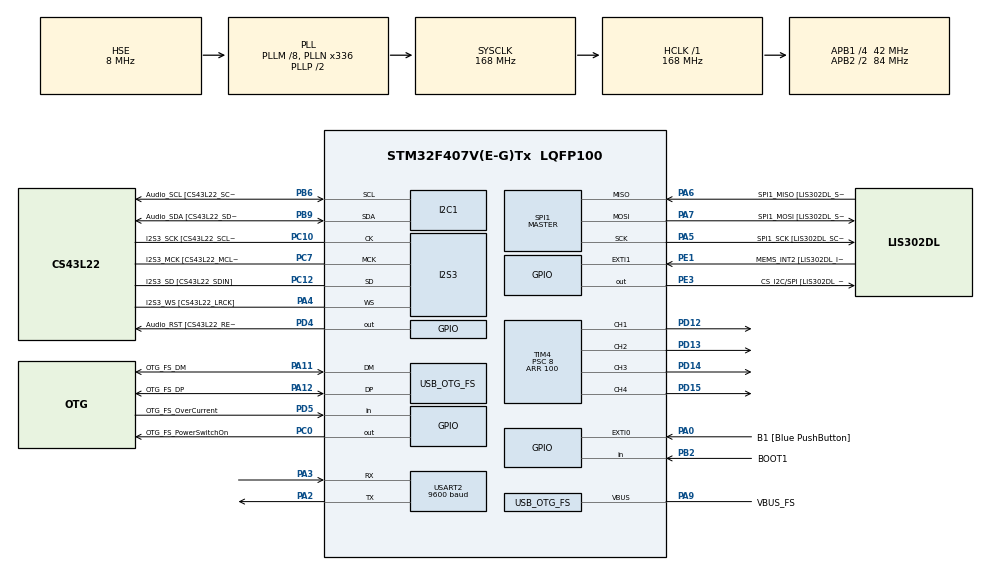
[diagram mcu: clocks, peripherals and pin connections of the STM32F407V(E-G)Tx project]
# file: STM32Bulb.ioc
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PA11.GPIO_Speed=GPIO_SPEED_FREQ_LOW
PH0-OSC_IN.Signal=RCC_OSC_IN
PC10.GPIO_PuPd=GPIO_NOPULL
SPI1.VirtualType=VM_MASTER
PB10.GPIO_PuPd=GPIO_NOPULL
PA10.GPIO_PuPd=GPIO_NOPULL
PC12.Signal=I2S3_SD
PA14.GPIO_Label=SWCLK
PA6.GPIO_Label=SPI1_MISO [LIS302DL_SDO]
PB6.GPIO_Label=Audio_SCL [CS43L22_SCL]
PC15-OSC32_OUT.GPIO_Label=PC15-OSC32_OUT
PC3.GPIO_Speed=GPIO_SPEED_FREQ_LOW
RCC.SYSCLKSource=RCC_SYSCLKSOURCE_PLLCLK
PA6.GPIO_Mode=GPIO_MODE_AF_PP
PA4.Mode=Half_Duplex_Master
SPI1.Direction=SPI_DIRECTION_2LINES
I2S3.AudioFreq-Half_Duplex_Master=I2S_AUDIOFREQ_96K
PD4.Signal=GPIO_Output
RCC.APB2TimFreq_Value=168000000
TIM4.Pulse-PWM\ Generation1\ CH1=0
PB6.Signal=I2C1_SCL
PC7.Signal=I2S3_MCK
PB6.Mode=I2C
PC3.Signal=I2S2_SD
PE1.Signal=GPXTI1
TIM4.Channel-PWM\ Generation3\ CH3=TIM_CHANNEL_3
USB_OTG_FS.phy_itface=HCD_PHY_EMBEDDED
PB2.Signal=GPIO_Input
I2S3.ErrorAudioFreq=-2.34 %
PA5.GPIO_PuPd=GPIO_NOPULL
I2S3.ErrorAudioFreq-Half_Duplex_Master=0.8 %
PD5.GPIO_Mode=GPIO_MODE_INPUT
SH.S_TIM4_CH2.0=TIM4_CH2,PWM Generation2 CH2
TIM4.Period=100
PB2.GPIO_PuPd=GPIO_NOPULL
SPI1.CalculateBaudRate-Full_Duplex_Master=42.0 MBits/s
Mcu.Package=LQFP100
PB9.Signal=I2C1_SDA
PD12.Signal=S_TIM4_CH1
PB9.GPIO_PuPd=GPIO_NOPULL
PA10.Signal=USB_OTG_FS_ID
RCC.APB2CLKDivider=RCC_HCLK_DIV2
SH.S_TIM4_CH1.0=TIM4_CH1,PWM Generation1 CH1
RCC.APB1TimFreq_Value=84000000
PC12.GPIO_PuPd=GPIO_NOPULL
PA6.GPIO_Speed=GPIO_SPEED_FREQ_LOW
PA12.GPIO_PuPd=GPIO_NOPULL
TIM4.Channel-PWM\ Generation4\ CH4=TIM_CHANNEL_4
PA4.GPIO_Label=I2S3_WS [CS43L22_LRCK]
PD15.Signal=S_TIM4_CH4
TIM4.Pulse-PWM\ Generation2\ CH2=0
PC0.PinState=GPIO_PIN_SET
PA5.Mode=Full_Duplex_Master
TIM4.Pulse-PWM\ Generation3\ CH3=0
I2S3.FullDuplexMode=I2S_FULLDUPLEXMODE_DISABLE
PA9.GPIO_Label=VBUS_FS
PB6.GPIO_PuPd=GPIO_NOPULL
PA11.GPIO_Label=OTG_FS_DM
PE1.GPIO_PuPd=GPIO_NOPULL
PC0.Signal=GPIO_Output
RCC.APB1CLKDivider=RCC_HCLK_DIV4
PC14-OSC32_IN.Signal=RCC_OSC32_IN
USART2.BaudRate=9600
PA0-WKUP.GPIO_ModeDefaultEXTI=GPIO_MODE_EVT_RISING
PA0-WKUP.GPIO_Label=B1 [Blue PushButton]
PA0-WKUP.Signal=GPXTI0
USB_HOST0.BSP.STBoard=false
PA3.Mode=Asynchronous
PC10.GPIO_Mode=GPIO_MODE_AF_PP
PB10.GPIO_Mode=GPIO_MODE_AF_PP
PA9.Signal=USB_OTG_FS_VBUS
I2S3.VirtualMode=I2S_MODE_MASTER
PC7.GPIO_PuPd=GPIO_NOPULL
PB10.Signal=I2S2_CK
PA5.Signal=SPI1_SCK
PC12.Mode=Half_Duplex_Master
PE1.GPIO_Label=MEMS_INT2 [LIS302DL_INT2]
USB_HOST.VirtualModeFS=Cdc
PA7.GPIO_Speed=GPIO_SPEED_FREQ_LOW
TIM4.Pulse-PWM\ Generation4\ CH4=0
PB2.GPIO_Mode=GPIO_MODE_INPUT
SPI1.Mode=SPI_MODE_MASTER
PD4.GPIO_Speed=GPIO_SPEED_FREQ_LOW
PE3.GPIO_PuPd=GPIO_NOPULL
PH1-OSC_OUT.GPIO_Label=PH1-OSC_OUT
PA13.Mode=Serial_Wire
PC7.GPIO_Label=I2S3_MCK [CS43L22_MCLK]
PA4.Signal=I2S3_WS
PC12.GPIO_Mode=GPIO_MODE_AF_PP
PA5.GPIO_Label=SPI1_SCK [LIS302DL_SCL/SPC]
PE3.GPIO_Speed=GPIO_SPEED_FREQ_LOW
PC12.GPIO_Label=I2S3_SD [CS43L22_SDIN]
PA11.Signal=USB_OTG_FS_DM
ProjectManager.HeapSize=0x200
VP_TIM4_VS_ClockSourceINT.Mode=Internal
NVIC.PriorityGroup=NVIC_PRIORITYGROUP_0
PE3.Signal=GPIO_Output
PC3.GPIO_Label=PDM_OUT [MP45DT02_DOUT]
PA0-WKUP.GPIO_PuPd=GPIO_NOPULL
I2S3.Instance=SPI$Index
PB6.GPIO_Speed=GPIO_SPEED_FREQ_LOW
SPI1.BaudRatePrescaler-Full_Duplex_Master=SPI_BAUDRATEPRESCALER_2
USB_HOST0.BSP.mode=Output
Mcu.Family=STM32F4
PC3.GPIO_Mode=GPIO_MODE_AF_PP
PA6.Mode=Full_Duplex_Master
RCC.CortexFreq_Value=168000000
PB10.GPIO_Speed=GPIO_SPEED_FREQ_LOW
PB6.GPIO_Mode=GPIO_MODE_AF_OD
PC10.Signal=I2S3_CK
PA7.GPIO_Mode=GPIO_MODE_AF_PP
PC0.GPIO_Label=OTG_FS_PowerSwitchOn
PA11.Mode=Host_Only
PC10.GPIO_Speed=GPIO_SPEED_FREQ_LOW
PA11.GPIO_PuPd=GPIO_NOPULL
ProjectManager.StackSize=0x400
SPI1.Mode-Full_Duplex_Master=SPI_MODE_MASTER
PD13.Signal=S_TIM4_CH2
PA12.Signal=USB_OTG_FS_DP
TIM4.OCFastMode_PWM-PWM\ Generation1\ CH1=TIM_OCFAST_ENABLE
RCC.HCLKFreq_Value=168000000
USB_HOST0.BSP.ip=GPIO
RCC.AHBFreq_Value=168000000
PH0-OSC_IN.Mode=HSE-External-Oscillator
PH0-OSC_IN.GPIO_Label=PH0-OSC_IN
PA9.GPIO_Mode=GPIO_MODE_INPUT
RCC.HSE_VALUE=8000000
PA4.GPIO_PuPd=GPIO_NOPULL
PA4.GPIO_Speed=GPIO_SPEED_FREQ_LOW
PA6.GPIO_PuPd=GPIO_NOPULL
PC14-OSC32_IN.Mode=LSE-External-Oscillator
PA14.Mode=Serial_Wire
PA10.GPIO_Label=OTG_FS_ID
PC7.GPIO_Mode=GPIO_MODE_AF_PP
TIM4.OCFastMode_PWM-PWM\ Generation2\ CH2=TIM_OCFAST_ENABLE
USB_HOST0.BSP.i2creg=0
PH1-OSC_OUT.Mode=HSE-External-Oscillator
USB_HOST0.BSP.i2caddr=0
PA6.Signal=SPI1_MISO
USART2.VirtualMode=VM_ASYNC
USB_HOST.USBH_HandleTypeDef-CDC_FS=hUsbHostFS
PD5.GPIO_Label=OTG_FS_OverCurrent
NVIC.OTG_FS_IRQn=true\:0\:0\:false\:false\:true\:true\:true
USB_OTG_FS.VirtualMode=Host_Only
PA10.GPIO_Speed=GPIO_SPEED_FREQ_LOW
USB_HOST0.BSP.name=Drive_VBUS_FS
PB9.GPIO_Speed=GPIO_SPEED_FREQ_LOW
PC14-OSC32_IN.GPIO_Label=PC14-OSC32_IN
PC0.GPIO_PuPd=GPIO_NOPULL
PA12.GPIO_Speed=GPIO_SPEED_FREQ_LOW
PA3.Signal=USART2_RX
PB3.GPIO_Label=SWO
TIM4.Channel-PWM\ Generation1\ CH1=TIM_CHANNEL_1
PC15-OSC32_OUT.Mode=LSE-External-Oscillator
PA7.Mode=Full_Duplex_Master
PB9.GPIO_Label=Audio_SDA [CS43L22_SDA]
PC10.GPIO_Label=I2S3_SCK [CS43L22_SCLK]
SH.S_TIM4_CH4.0=TIM4_CH4,PWM Generation4 CH4
USB_HOST0.BSP.solution=PC0
PC10.Mode=Half_Duplex_Master
USB_HOST.BSP.number=1
PD5.Signal=GPIO_Input
PE1.GPIO_ModeDefaultEXTI=GPIO_MODE_EVT_RISING
TIM4.OCFastMode_PWM-PWM\ Generation3\ CH3=TIM_OCFAST_ENABLE
PA9.GPIO_PuPd=GPIO_NOPULL
NVIC.USART2_IRQn=true\:0\:0\:false\:false\:true\:true\:true
PA12.GPIO_Label=OTG_FS_DP
PA10.GPIO_Mode=GPIO_MODE_AF_PP
PA13.Signal=SYS_JTMS-SWDIO
PD4.GPIO_PuPd=GPIO_NOPULL
PA9.Mode=Activate_VBUS
PC0.GPIO_Speed=GPIO_SPEED_FREQ_LOW
I2S3.RealAudioFreq-Half_Duplex_Master=96.774 KHz
ProjectManager.TargetToolchain=STM32CubeIDE
PB10.GPIO_Label=CLK_IN [MP45DT02_CLK]
SH.S_TIM4_CH3.0=TIM4_CH3,PWM Generation3 CH3
PB9.Mode=I2C
TIM4.Prescaler=8
PC15-OSC32_OUT.Signal=RCC_OSC32_OUT
PA7.GPIO_PuPd=GPIO_NOPULL
board=STM32F407G-DISC1
PC7.GPIO_Speed=GPIO_SPEED_FREQ_LOW
RCC.VCOOutputFreq_Value=336000000
PB9.GPIO_Mode=GPIO_MODE_AF_OD
PA12.GPIO_Mode=GPIO_MODE_AF_PP
PA4.GPIO_Mode=GPIO_MODE_AF_PP
TIM4.Channel-PWM\ Generation2\ CH2=TIM_CHANNEL_2
RCC.APB2Freq_Value=84000000
USB_HOST0.BSP.api=Unknown
PD4.GPIO_Label=Audio_RST [CS43L22_RESET]
TIM4.OCFastMode_PWM-PWM\ Generation4\ CH4=TIM_OCFAST_ENABLE
PH1-OSC_OUT.Signal=RCC_OSC_OUT
PD5.GPIO_PuPd=GPIO_NOPULL
Mcu.Name=STM32F407V(E-G)Tx
PA2.Signal=USART2_TX
PA13.GPIO_Label=SWDIO
PD14.Signal=S_TIM4_CH3
RCC.48MHZClocksFreq_Value=48000000
PB3.Signal=SYS_JTDO-SWO
RCC.SYSCLKFreq_VALUE=168000000
PA7.GPIO_Label=SPI1_MOSI [LIS302DL_SDA/SDI/SDO]
PA12.Mode=Host_Only
VP_USB_HOST_VS_USB_HOST_CDC_FS.Mode=CDC_FS
PA14.Signal=SYS_JTCK-SWCLK
PB2.GPIO_Label=BOOT1
RCC.HSI_VALUE=16000000
PA5.GPIO_Speed=GPIO_SPEED_FREQ_LOW
RCC.PLLQ=7
I2S3.RealAudioFreq=93.75 KHz
RCC.PLLM=8
RCC.PLLN=336
PA2.Mode=Asynchronous
PE3.GPIO_Label=CS_I2C/SPI [LIS302DL_CS_I2C/SPI]
PC7.Mode=Master_Clock_Activated
PA11.GPIO_Mode=GPIO_MODE_AF_PP
RCC.APB1Freq_Value=42000000
PA5.GPIO_Mode=GPIO_MODE_AF_PP
PC12.GPIO_Speed=GPIO_SPEED_FREQ_LOW
PC3.GPIO_PuPd=GPIO_NOPULL
PA7.Signal=SPI1_MOSI
USB_HOST0.BSP.instance=PC0

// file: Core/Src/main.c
/* USER CODE BEGIN Header */
/**
  ******************************************************************************
  * @file           : main.c
  * @brief          : Main program body
  ******************************************************************************
  * @attention
  *
  * <h2><center>&copy; Copyright (c) 2022 STMicroelectronics.
  * All rights reserved.</center></h2>
  *
  * This software component is licensed by ST under Ultimate Liberty license
  * SLA0044, the "License"; You may not use this file except in compliance with
  * the License. You may obtain a copy of the License at:
  *                             www.st.com/SLA0044
  *
  ******************************************************************************
  */
/* USER CODE END Header */
#include "main.h"
#include "usb_host.h"

/* USER CODE BEGIN Includes */

/******************************************************************************
 * The includes for this project are:
 * math.h :-> for floor, ceil, and cos functions
 * string.h :-> for string conversion and splits
 * stdio.h :-> for general purposes and data types
 * stdlib.h :-> for general purposes and data types
 ******************************************************************************/
#include "math.h"
#include "string.h"
#include "stdio.h"
#include "stdlib.h"
/* USER CODE END Includes */

/* USER CODE BEGIN PTD */

/******************************************************************************
 * The structs for this project are:
 * LEDBehavior :-> used to store data about the wave function to be feed in the
 * respective LED.
 ******************************************************************************/
typedef struct
{
  int samples;
  int phase;
  int maximum;
  int shape[1000];
} LEDBehavior;

/* USER CODE END PTD */

/* USER CODE BEGIN PM */
/******************************************************************************
 * The handlers for this project are:
 * hi2c1 :-> not used
 * hi2s3 :-> not used
 * hspi1 :-> not used
 * htim4 :-> used for the PWM output in the LED GPIO pins
 * huart2 :-> used for communication with the ESP32
 ******************************************************************************/
/* USER CODE END PM */

I2C_HandleTypeDef hi2c1;

I2S_HandleTypeDef hi2s3;

SPI_HandleTypeDef hspi1;

TIM_HandleTypeDef htim4;

UART_HandleTypeDef huart2;

/* USER CODE BEGIN PV */
/******************************************************************************
 * The includes for this project are:
 * configString :-> string that holds the configuration string to be read and
 * applied to the LED's wave functions
 * yellow, orange, red, blue :-> the variables that hold the wave functions
 * parameters for each LED.
 ******************************************************************************/

uint8_t configString[] = "Y-0500-0125-S@O-0500-0250-S@R-0500-0375-S@B-0500-0000-S";

LEDBehavior yellow, orange, red, blue;

/* USER CODE END PV */

void SystemClock_Config(void);
static void MX_GPIO_Init(void);
static void MX_I2C1_Init(void);
static void MX_I2S3_Init(void);
static void MX_SPI1_Init(void);
static void MX_TIM4_Init(void);
static void MX_USART2_UART_Init(void);
void MX_USB_HOST_Process(void);

/* USER CODE BEGIN PFP */
/******************************************************************************
 * The functions for this project are:
 * DeserializeConfiguration :-> gets a string and splits in blocks of
 * parameters. Then, for the specified LED, it sets the correct value for
 * each field in the wave form.
 * WaveSetup :-> Gets the received parameters and passes to the LED structures
 * GenerateHigh :-> generates a constant high level signal to the respective
 * wave parameters
 * GenerateLow :-> generates a constant low level signal to the respective
 * wave parameters
 * GenerateRamp :-> generates a ramp wave signal to the respective wave
 * parameters
 * GenerateCossine :-> generates a cosine wave signal to the respective wave
 * parameters
 * GenerateSquare :-> generates a square wave signal to the respective wave
 * parameters
 * GenerateParabola :-> generates a parabola wave signal to the respective wave
 * parameters
 ******************************************************************************/
void DeserializeConfiguration(uint8_t *configurationString, LEDBehavior *yellow, LEDBehavior *orange, LEDBehavior *red, LEDBehavior *blue);
void WaveSetup(LEDBehavior led, char *samples, char *phase, int maximum, char *shape);
void GenerateHigh(int *fixed, int samples, int maximum);
void GenerateLow(int *fixed, int samples, int maximum);
void GenerateRamp(int *ramp, int samples, int maximum);
void GenerateCossine(int *senoid, int samples, int maximum);
void GenerateSquare(int *square, int samples, int maximum);
void GenerateParabola(int *square, int samples, int maximum);

/* USER CODE END PFP */

int main(void)
{

  /* MCU Configuration--------------------------------------------------------*/

  /* Reset of all peripherals, Initializes the Flash interface and the Systick. */
  HAL_Init();

  /* Configure the system clock */
  SystemClock_Config();

  /* Initialize all configured peripherals */
  MX_GPIO_Init();
  MX_I2C1_Init();
  MX_I2S3_Init();
  MX_SPI1_Init();
  MX_USB_HOST_Init();
  MX_TIM4_Init();
  MX_USART2_UART_Init();
  /* USER CODE BEGIN 2 */

  // Initializes all PWM for all LEDs
  HAL_TIM_PWM_Start(&htim4, TIM_CHANNEL_1);
  HAL_TIM_PWM_Start(&htim4, TIM_CHANNEL_2);
  HAL_TIM_PWM_Start(&htim4, TIM_CHANNEL_3);
  HAL_TIM_PWM_Start(&htim4, TIM_CHANNEL_4);

  /* USER CODE END 2 */

  /* Infinite loop */
  /* USER CODE BEGIN WHILE */

  // Calls configuration function for default initialization setup
  DeserializeConfiguration(configString, &yellow, &orange, &red, &blue);

  // Variables responsible for phase delay in wave functions
  int yellowPhase, orangePhase, redPhase, bluePhase;
  int globalCounter = 0;

  // Setup interrupt reception for UART1 port
  // (Calls for handling after reception is completed)
  HAL_UART_Receive_IT(&huart2, configString, 55);

  while (1)
  {
	// Counter to keep general samples to be split among phases
	globalCounter++;

	// Phase for each wave considering the respective phase delays for each function
	yellowPhase = floor((globalCounter+yellow.phase)%yellow.samples);
	orangePhase = floor((globalCounter+orange.phase)%orange.samples);
	redPhase = floor((globalCounter+red.phase)%red.samples);
	bluePhase = floor((globalCounter+blue.phase)%blue.samples);

	// Setting up each PWM level for each LED
	TIM4->CCR1 = yellow.shape[yellowPhase];
	TIM4->CCR2 = orange.shape[orangePhase];
	TIM4->CCR3 = red.shape[redPhase];
	TIM4->CCR4 = blue.shape[bluePhase];

	// Setup the pace for the execution
	HAL_Delay(5);
	HAL_UART_Receive_IT(&huart2, configString, 55);

    /* USER CODE END WHILE */
    MX_USB_HOST_Process();

  }
}

void SystemClock_Config(void)
{
  RCC_OscInitTypeDef RCC_OscInitStruct = {0};
  RCC_ClkInitTypeDef RCC_ClkInitStruct = {0};
  RCC_PeriphCLKInitTypeDef PeriphClkInitStruct = {0};

  /** Configure the main internal regulator output voltage
  */
  __HAL_RCC_PWR_CLK_ENABLE();
  __HAL_PWR_VOLTAGESCALING_CONFIG(PWR_REGULATOR_VOLTAGE_SCALE1);
  /** Initializes the RCC Oscillators according to the specified parameters
  * in the RCC_OscInitTypeDef structure.
  */
  RCC_OscInitStruct.OscillatorType = RCC_OSCILLATORTYPE_HSE;
  RCC_OscInitStruct.HSEState = RCC_HSE_ON;
  RCC_OscInitStruct.PLL.PLLState = RCC_PLL_ON;
  RCC_OscInitStruct.PLL.PLLSource = RCC_PLLSOURCE_HSE;
  RCC_OscInitStruct.PLL.PLLM = 8;
  RCC_OscInitStruct.PLL.PLLN = 336;
  RCC_OscInitStruct.PLL.PLLP = RCC_PLLP_DIV2;
  RCC_OscInitStruct.PLL.PLLQ = 7;
  if (HAL_RCC_OscConfig(&RCC_OscInitStruct) != HAL_OK)
  {
    Error_Handler();
  }
  /** Initializes the CPU, AHB and APB buses clocks
  */
  RCC_ClkInitStruct.ClockType = RCC_CLOCKTYPE_HCLK|RCC_CLOCKTYPE_SYSCLK
                              |RCC_CLOCKTYPE_PCLK1|RCC_CLOCKTYPE_PCLK2;
  RCC_ClkInitStruct.SYSCLKSource = RCC_SYSCLKSOURCE_PLLCLK;
  RCC_ClkInitStruct.AHBCLKDivider = RCC_SYSCLK_DIV1;
  RCC_ClkInitStruct.APB1CLKDivider = RCC_HCLK_DIV4;
  RCC_ClkInitStruct.APB2CLKDivider = RCC_HCLK_DIV2;

  if (HAL_RCC_ClockConfig(&RCC_ClkInitStruct, FLASH_LATENCY_5) != HAL_OK)
  {
    Error_Handler();
  }
  PeriphClkInitStruct.PeriphClockSelection = RCC_PERIPHCLK_I2S;
  PeriphClkInitStruct.PLLI2S.PLLI2SN = 192;
  PeriphClkInitStruct.PLLI2S.PLLI2SR = 2;
  if (HAL_RCCEx_PeriphCLKConfig(&PeriphClkInitStruct) != HAL_OK)
  {
    Error_Handler();
  }
}

static void MX_I2C1_Init(void)
{

  hi2c1.Instance = I2C1;
  hi2c1.Init.ClockSpeed = 100000;
  hi2c1.Init.DutyCycle = I2C_DUTYCYCLE_2;
  hi2c1.Init.OwnAddress1 = 0;
  hi2c1.Init.AddressingMode = I2C_ADDRESSINGMODE_7BIT;
  hi2c1.Init.DualAddressMode = I2C_DUALADDRESS_DISABLE;
  hi2c1.Init.OwnAddress2 = 0;
  hi2c1.Init.GeneralCallMode = I2C_GENERALCALL_DISABLE;
  hi2c1.Init.NoStretchMode = I2C_NOSTRETCH_DISABLE;
  if (HAL_I2C_Init(&hi2c1) != HAL_OK)
  {
    Error_Handler();
  }

}

static void MX_I2S3_Init(void)
{

  hi2s3.Instance = SPI3;
  hi2s3.Init.Mode = I2S_MODE_MASTER_TX;
  hi2s3.Init.Standard = I2S_STANDARD_PHILIPS;
  hi2s3.Init.DataFormat = I2S_DATAFORMAT_16B;
  hi2s3.Init.MCLKOutput = I2S_MCLKOUTPUT_ENABLE;
  hi2s3.Init.AudioFreq = I2S_AUDIOFREQ_96K;
  hi2s3.Init.CPOL = I2S_CPOL_LOW;
  hi2s3.Init.ClockSource = I2S_CLOCK_PLL;
  hi2s3.Init.FullDuplexMode = I2S_FULLDUPLEXMODE_DISABLE;
  if (HAL_I2S_Init(&hi2s3) != HAL_OK)
  {
    Error_Handler();
  }

}

static void MX_SPI1_Init(void)
{

  /* SPI1 parameter configuration*/
  hspi1.Instance = SPI1;
  hspi1.Init.Mode = SPI_MODE_MASTER;
  hspi1.Init.Direction = SPI_DIRECTION_2LINES;
  hspi1.Init.DataSize = SPI_DATASIZE_8BIT;
  hspi1.Init.CLKPolarity = SPI_POLARITY_LOW;
  hspi1.Init.CLKPhase = SPI_PHASE_1EDGE;
  hspi1.Init.NSS = SPI_NSS_SOFT;
  hspi1.Init.BaudRatePrescaler = SPI_BAUDRATEPRESCALER_2;
  hspi1.Init.FirstBit = SPI_FIRSTBIT_MSB;
  hspi1.Init.TIMode = SPI_TIMODE_DISABLE;
  hspi1.Init.CRCCalculation = SPI_CRCCALCULATION_DISABLE;
  hspi1.Init.CRCPolynomial = 10;
  if (HAL_SPI_Init(&hspi1) != HAL_OK)
  {
    Error_Handler();
  }

}

static void MX_TIM4_Init(void)
{

  TIM_ClockConfigTypeDef sClockSourceConfig = {0};
  TIM_MasterConfigTypeDef sMasterConfig = {0};
  TIM_OC_InitTypeDef sConfigOC = {0};

  htim4.Instance = TIM4;
  htim4.Init.Prescaler = 8;
  htim4.Init.CounterMode = TIM_COUNTERMODE_UP;
  htim4.Init.Period = 100;
  htim4.Init.ClockDivision = TIM_CLOCKDIVISION_DIV1;
  htim4.Init.AutoReloadPreload = TIM_AUTORELOAD_PRELOAD_DISABLE;
  if (HAL_TIM_Base_Init(&htim4) != HAL_OK)
  {
    Error_Handler();
  }
  sClockSourceConfig.ClockSource = TIM_CLOCKSOURCE_INTERNAL;
  if (HAL_TIM_ConfigClockSource(&htim4, &sClockSourceConfig) != HAL_OK)
  {
    Error_Handler();
  }
  if (HAL_TIM_PWM_Init(&htim4) != HAL_OK)
  {
    Error_Handler();
  }
  sMasterConfig.MasterOutputTrigger = TIM_TRGO_RESET;
  sMasterConfig.MasterSlaveMode = TIM_MASTERSLAVEMODE_DISABLE;
  if (HAL_TIMEx_MasterConfigSynchronization(&htim4, &sMasterConfig) != HAL_OK)
  {
    Error_Handler();
  }
  sConfigOC.OCMode = TIM_OCMODE_PWM1;
  sConfigOC.Pulse = 0;
  sConfigOC.OCPolarity = TIM_OCPOLARITY_HIGH;
  sConfigOC.OCFastMode = TIM_OCFAST_ENABLE;
  if (HAL_TIM_PWM_ConfigChannel(&htim4, &sConfigOC, TIM_CHANNEL_1) != HAL_OK)
  {
    Error_Handler();
  }
  if (HAL_TIM_PWM_ConfigChannel(&htim4, &sConfigOC, TIM_CHANNEL_2) != HAL_OK)
  {
    Error_Handler();
  }
  if (HAL_TIM_PWM_ConfigChannel(&htim4, &sConfigOC, TIM_CHANNEL_3) != HAL_OK)
  {
    Error_Handler();
  }
  if (HAL_TIM_PWM_ConfigChannel(&htim4, &sConfigOC, TIM_CHANNEL_4) != HAL_OK)
  {
    Error_Handler();
  }
  HAL_TIM_MspPostInit(&htim4);

}

static void MX_USART2_UART_Init(void)
{

  huart2.Instance = USART2;
  huart2.Init.BaudRate = 9600;
  huart2.Init.WordLength = UART_WORDLENGTH_8B;
  huart2.Init.StopBits = UART_STOPBITS_1;
  huart2.Init.Parity = UART_PARITY_NONE;
  huart2.Init.Mode = UART_MODE_TX_RX;
  huart2.Init.HwFlowCtl = UART_HWCONTROL_NONE;
  huart2.Init.OverSampling = UART_OVERSAMPLING_16;
  if (HAL_UART_Init(&huart2) != HAL_OK)
  {
    Error_Handler();
  }

}

static void MX_GPIO_Init(void)
{
  GPIO_InitTypeDef GPIO_InitStruct = {0};

  /* GPIO Ports Clock Enable */
  __HAL_RCC_GPIOE_CLK_ENABLE();
  __HAL_RCC_GPIOC_CLK_ENABLE();
  __HAL_RCC_GPIOH_CLK_ENABLE();
  __HAL_RCC_GPIOA_CLK_ENABLE();
  __HAL_RCC_GPIOB_CLK_ENABLE();
  __HAL_RCC_GPIOD_CLK_ENABLE();

  /*Configure GPIO pin Output Level */
  HAL_GPIO_WritePin(CS_I2C_SPI_GPIO_Port, CS_I2C_SPI_Pin, GPIO_PIN_RESET);

  /*Configure GPIO pin Output Level */
  HAL_GPIO_WritePin(OTG_FS_PowerSwitchOn_GPIO_Port, OTG_FS_PowerSwitchOn_Pin, GPIO_PIN_SET);

  /*Configure GPIO pin Output Level */
  HAL_GPIO_WritePin(Audio_RST_GPIO_Port, Audio_RST_Pin, GPIO_PIN_RESET);

  /*Configure GPIO pin : CS_I2C_SPI_Pin */
  GPIO_InitStruct.Pin = CS_I2C_SPI_Pin;
  GPIO_InitStruct.Mode = GPIO_MODE_OUTPUT_PP;
  GPIO_InitStruct.Pull = GPIO_NOPULL;
  GPIO_InitStruct.Speed = GPIO_SPEED_FREQ_LOW;
  HAL_GPIO_Init(CS_I2C_SPI_GPIO_Port, &GPIO_InitStruct);

  /*Configure GPIO pin : OTG_FS_PowerSwitchOn_Pin */
  GPIO_InitStruct.Pin = OTG_FS_PowerSwitchOn_Pin;
  GPIO_InitStruct.Mode = GPIO_MODE_OUTPUT_PP;
  GPIO_InitStruct.Pull = GPIO_NOPULL;
  GPIO_InitStruct.Speed = GPIO_SPEED_FREQ_LOW;
  HAL_GPIO_Init(OTG_FS_PowerSwitchOn_GPIO_Port, &GPIO_InitStruct);

  /*Configure GPIO pin : PDM_OUT_Pin */
  GPIO_InitStruct.Pin = PDM_OUT_Pin;
  GPIO_InitStruct.Mode = GPIO_MODE_AF_PP;
  GPIO_InitStruct.Pull = GPIO_NOPULL;
  GPIO_InitStruct.Speed = GPIO_SPEED_FREQ_LOW;
  GPIO_InitStruct.Alternate = GPIO_AF5_SPI2;
  HAL_GPIO_Init(PDM_OUT_GPIO_Port, &GPIO_InitStruct);

  /*Configure GPIO pin : B1_Pin */
  GPIO_InitStruct.Pin = B1_Pin;
  GPIO_InitStruct.Mode = GPIO_MODE_EVT_RISING;
  GPIO_InitStruct.Pull = GPIO_NOPULL;
  HAL_GPIO_Init(B1_GPIO_Port, &GPIO_InitStruct);

  /*Configure GPIO pin : BOOT1_Pin */
  GPIO_InitStruct.Pin = BOOT1_Pin;
  GPIO_InitStruct.Mode = GPIO_MODE_INPUT;
  GPIO_InitStruct.Pull = GPIO_NOPULL;
  HAL_GPIO_Init(BOOT1_GPIO_Port, &GPIO_InitStruct);

  /*Configure GPIO pin : CLK_IN_Pin */
  GPIO_InitStruct.Pin = CLK_IN_Pin;
  GPIO_InitStruct.Mode = GPIO_MODE_AF_PP;
  GPIO_InitStruct.Pull = GPIO_NOPULL;
  GPIO_InitStruct.Speed = GPIO_SPEED_FREQ_LOW;
  GPIO_InitStruct.Alternate = GPIO_AF5_SPI2;
  HAL_GPIO_Init(CLK_IN_GPIO_Port, &GPIO_InitStruct);

  /*Configure GPIO pin : Audio_RST_Pin */
  GPIO_InitStruct.Pin = Audio_RST_Pin;
  GPIO_InitStruct.Mode = GPIO_MODE_OUTPUT_PP;
  GPIO_InitStruct.Pull = GPIO_NOPULL;
  GPIO_InitStruct.Speed = GPIO_SPEED_FREQ_LOW;
  HAL_GPIO_Init(Audio_RST_GPIO_Port, &GPIO_InitStruct);

  /*Configure GPIO pin : OTG_FS_OverCurrent_Pin */
  GPIO_InitStruct.Pin = OTG_FS_OverCurrent_Pin;
  GPIO_InitStruct.Mode = GPIO_MODE_INPUT;
  GPIO_InitStruct.Pull = GPIO_NOPULL;
  HAL_GPIO_Init(OTG_FS_OverCurrent_GPIO_Port, &GPIO_InitStruct);

  /*Configure GPIO pin : MEMS_INT2_Pin */
  GPIO_InitStruct.Pin = MEMS_INT2_Pin;
  GPIO_InitStruct.Mode = GPIO_MODE_EVT_RISING;
  GPIO_InitStruct.Pull = GPIO_NOPULL;
  HAL_GPIO_Init(MEMS_INT2_GPIO_Port, &GPIO_InitStruct);

}

/* USER CODE BEGIN 4 */

// Called by the end of UART interruption. Deserializes the received string
// and resets reception again
void HAL_UART_RxCpltCallback(UART_HandleTypeDef *huart)
{
	if (configString[0]!='\0')
	{
		// Calls configuration function for default initialization setup for
		// the received string
		DeserializeConfiguration(configString, &yellow, &orange, &red, &blue);
		// Setup reception
		HAL_UART_Receive_IT(&huart2, configString, 55);
	}
}

// Handles configuration string and passes the parameters for
// the wave generator to the respective LEDs
void DeserializeConfiguration(uint8_t *configurationString, LEDBehavior *yellow, LEDBehavior *orange, LEDBehavior *red, LEDBehavior *blue){
	// Variables to hold the parameters while the string is being parsed
	char* ledConfiguration[4];
	char* configurationParameters[4];

	// Tokens for the string split
	char* token = strtok((char *)configurationString, "@");
	ledConfiguration[0] = token;

	// Splitting the string
	for(int index = 1; token != NULL; index++){
		token = strtok(NULL, "@");
		ledConfiguration[index] = token;
	}

	// Splitting the string and passing the parameters to the function
	// that setups the values in the LED structure.
	for(int index = 0; index < 4; index++){
		token = strtok(ledConfiguration[index], "-");
		configurationParameters[0] = token;

		// Splitting the string
		for(int indexIn = 1; token != NULL; indexIn++){
			token = strtok(NULL, "-");
			configurationParameters[indexIn] = token;
		}
		// Yellow LED
		if (*configurationParameters[0] == 'Y'){
			yellow->samples = atoi(configurationParameters[1]);
			yellow->phase = atoi(configurationParameters[2]);
			yellow->maximum = (65535/512);
			if (*configurationParameters[3] == 'C'){
				GenerateCossine(yellow->shape, atoi(configurationParameters[1]), (65535/512));
			}
			else if (*configurationParameters[3] == 'H'){
				GenerateHigh(yellow->shape, atoi(configurationParameters[1]), (65535/512));
			}
			else if (*configurationParameters[3] == 'L'){
				GenerateLow(yellow->shape, atoi(configurationParameters[1]), (65535/512));
			}
			else if (*configurationParameters[3] == 'P'){
				GenerateParabola(yellow->shape, atoi(configurationParameters[1]), (65535/512));
			}
			else if (*configurationParameters[3] == 'R'){
				GenerateRamp(yellow->shape, atoi(configurationParameters[1]), (65535/512));
			}
			else if (*configurationParameters[3] == 'S'){
				GenerateSquare(yellow->shape, atoi(configurationParameters[1]), (65535/512));
			}
		}
		// Orange LED
		else if (*configurationParameters[0] == 'O'){
			orange->samples = atoi(configurationParameters[1]);
			orange->phase = atoi(configurationParameters[2]);
			orange->maximum = (65535/512);
			if (*configurationParameters[3] == 'C'){
				GenerateCossine(orange->shape, atoi(configurationParameters[1]), (65535/512));
			}
			else if (*configurationParameters[3] == 'H'){
				GenerateHigh(orange->shape, atoi(configurationParameters[1]), (65535/512));
			}
			else if (*configurationParameters[3] == 'L'){
				GenerateLow(orange->shape, atoi(configurationParameters[1]), (65535/512));
			}
			else if (*configurationParameters[3] == 'P'){
				GenerateParabola(orange->shape, atoi(configurationParameters[1]), (65535/512));
			}
			else if (*configurationParameters[3] == 'R'){
				GenerateRamp(orange->shape, atoi(configurationParameters[1]), (65535/512));
			}
			else if (*configurationParameters[3] == 'S'){
				GenerateSquare(orange->shape, atoi(configurationParameters[1]), (65535/512));
			}
		}
		// Red LED
		else if (*configurationParameters[0] == 'R'){
			red->samples = atoi(configurationParameters[1]);
			red->phase = atoi(configurationParameters[2]);
			red->maximum = (65535/512);
			if (*configurationParameters[3] == 'C'){
				GenerateCossine(red->shape, atoi(configurationParameters[1]), (65535/512));
			}
			else if (*configurationParameters[3] == 'H'){
				GenerateHigh(red->shape, atoi(configurationParameters[1]), (65535/512));
			}
			else if (*configurationParameters[3] == 'L'){
				GenerateLow(red->shape, atoi(configurationParameters[1]), (65535/512));
			}
			else if (*configurationParameters[3] == 'P'){
				GenerateParabola(red->shape, atoi(configurationParameters[1]), (65535/512));
			}
			else if (*configurationParameters[3] == 'R'){
				GenerateRamp(red->shape, atoi(configurationParameters[1]), (65535/512));
			}
			else if (*configurationParameters[3] == 'S'){
				GenerateSquare(red->shape, atoi(configurationParameters[1]), (65535/512));
			}
		}
		// Blue LED
		else if (*configurationParameters[0] == 'B'){
			blue->samples = atoi(configurationParameters[1]);
			blue->phase = atoi(configurationParameters[2]);
			blue->maximum = (65535/512);
			if (*configurationParameters[3] == 'C'){
				GenerateCossine(blue->shape, atoi(configurationParameters[1]), (65535/512));
			}
			else if (*configurationParameters[3] == 'H'){
				GenerateHigh(blue->shape, atoi(configurationParameters[1]), (65535/512));
			}
			else if (*configurationParameters[3] == 'L'){
				GenerateLow(blue->shape, atoi(configurationParameters[1]), (65535/512));
			}
			else if (*configurationParameters[3] == 'P'){
				GenerateParabola(blue->shape, atoi(configurationParameters[1]), (65535/512));
			}
			else if (*configurationParameters[3] == 'R'){
				GenerateRamp(blue->shape, atoi(configurationParameters[1]), (65535/512));
			}
			else if (*configurationParameters[3] == 'S'){
				GenerateSquare(blue->shape, atoi(configurationParameters[1]), (65535/512));
			}
		}
	}
}

// Generates cosine wave according to the received parameters
void GenerateCossine(int *cosinusoid, int samples, int maximum){
	float theta;
	float phases = 6.28/samples;
	for (int i = 0; i < samples; i++){
		theta = phases * i;
		cosinusoid[i] = floor(maximum*(cos(theta)+1));
	}
}

// Generates constant high according to the received parameters
void GenerateHigh(int *fixed, int samples, int maximum){
	for (int i = 0; i < samples; i++){
		fixed[i] = floor(maximum);
	}
}

// Generates constant low according to the received parameters
void GenerateLow(int *fixed, int samples, int maximum){
	for (int i = 0; i < samples; i++){
		fixed[i] = 0;
	}
}

// Generates ramp wave according to the received parameters
void GenerateRamp(int *ramp, int samples, int maximum){
	float theta = maximum/(float)samples;
	for (int i = 0; i < samples; i++){
		ramp[i] = floor(i*theta);
	}
}

// Generates square wave according to the received parameters
void GenerateSquare(int *square, int samples, int maximum){
	for (int i = 0; i < floor(samples/2); i++){
		square[i] = maximum;
	}
	for (int i = floor(samples/2); i < samples; i++){
		square[i] = 0;
	}
}

// Generates parabola wave according to the received parameters
void GenerateParabola(int *parabola, int samples, int maximum){
	float a = (4*maximum)/(pow(samples,2));
	float b = -(4*maximum)/(float)samples;
	float c = maximum;
	for (int i = 0; i < samples; i++){
		parabola[i] = floor(a*pow(i,2) + b*i + c);
	}
}

/* USER CODE END 4 */

void Error_Handler(void)
{
  __disable_irq();
  while (1)
  {
  }
}

/************************ (C) COPYRIGHT STMicroelectronics *****END OF FILE****/
